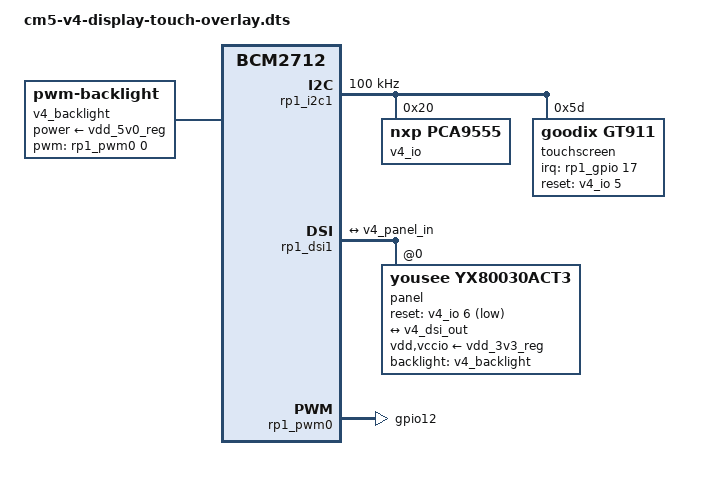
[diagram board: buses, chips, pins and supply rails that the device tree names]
/dts-v1/;
/plugin/;

/* October 22 V4 carrier; existing YX80030ACT3 panel and timings. */
/ {
    compatible = "brcm,bcm2712";

    fragment@0 {
        target = <&rp1_i2c1>;
        __overlay__ {
            status = "okay";
            pinctrl-names = "default";
            pinctrl-0 = <&rp1_i2c1_2_3>;
            clock-frequency = <100000>;
            #address-cells = <1>;
            #size-cells = <0>;

            v4_io: gpio@20 {
                compatible = "nxp,pca9555"; /* TCA9555 register compatible */
                reg = <0x20>;
                gpio-controller;
                #gpio-cells = <2>;
                gpio-line-names = "PTT", "MAP", "DISP", "BAND", "MODE",
                    "TP_RST", "LCD_RST", "UNUSED", "ENC2_D", "BTN2",
                    "ENC1_D", "BTN1", "CODEC_GPIO3", "CODEC_GPIO2",
                    "CODEC_GPIO1", "SPK_ON";
            };

            touchscreen@5d {
                compatible = "goodix,gt911";
                reg = <0x5d>;
                interrupt-parent = <&rp1_gpio>;
                interrupts = <17 2>;
                irq-gpios = <&rp1_gpio 17 0>;
                reset-gpios = <&v4_io 5 0>;
                status = "okay";
            };
        };
    };

    fragment@1 {
        target = <&rp1_dsi1>;
        __overlay__ {
            status = "okay";
            #address-cells = <1>;
            #size-cells = <0>;
            port {
                v4_dsi_out: endpoint {
                    remote-endpoint = <&v4_panel_in>;
                };
            };
            panel@0 {
                compatible = "yousee,yx80030act3";
                reg = <0>;
                vdd-supply = <&vdd_3v3_reg>;
                vccio-supply = <&vdd_3v3_reg>;
                reset-gpios = <&v4_io 6 1>;
                backlight = <&v4_backlight>;
                port {
                    v4_panel_in: endpoint {
                        remote-endpoint = <&v4_dsi_out>;
                        data-lanes = <1 2 3 4>;
                    };
                };
            };
        };
    };

    fragment@2 {
        target-path = "/";
        __overlay__ {
            v4_backlight: backlight-v4 {
                compatible = "pwm-backlight";
                /* U17 SY7201ABC: 20 kHz–1 MHz PWM; use 25 kHz. */
                pwms = <&rp1_pwm0 0 40000 0>;
                brightness-levels = <0 1 2 3 4 5 6 7 8 9 10 11 12 13 14 15 16 17 18 19 20 21 22 23 24 25 26 27 28 29 30 31 32 33 34 35 36 37 38 39 40 41 42 43 44 45 46 47 48 49 50 51 52 53 54 55 56 57 58 59 60 61 62 63 64 65 66 67 68 69 70 71 72 73 74 75 76 77 78 79 80 81 82 83 84 85 86 87 88 89 90 91 92 93 94 95 96 97 98 99 100>;
                default-brightness-level = <100>;
                power-supply = <&vdd_5v0_reg>;
                /* DRM enables the backlight after the panel is prepared. */
            };
        };
    };

    fragment@3 {
        target = <&rp1_gpio>;
        __overlay__ {
            v4_backlight_pwm_pins: v4_backlight_pwm_pins {
                function = "pwm0";
                pins = "gpio12";
                bias-pull-down;
            };
        };
    };
    fragment@4 {
        target = <&rp1_pwm0>;
        __overlay__ {
            pinctrl-names = "default";
            pinctrl-0 = <&v4_backlight_pwm_pins>;
            status = "okay";
        };
    };
};
